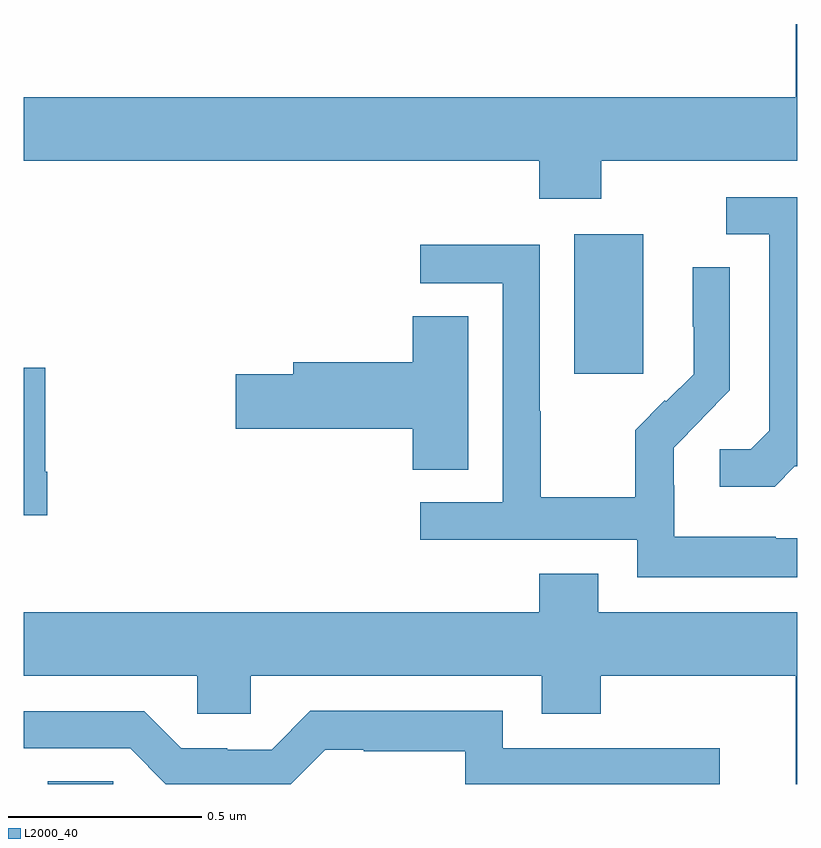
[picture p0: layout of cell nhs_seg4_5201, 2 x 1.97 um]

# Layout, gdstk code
import gdstk
lib = gdstk.Library(unit=1e-6, precision=1e-09)
def R(c, l, rs):  # rectangles x0, y0, x1, y1
    for r in rs: c.add(gdstk.rectangle(r[:2], r[2:], *l))
def P(c, l, *ps):  # polygons
    for p in ps: c.add(gdstk.Polygon(p, *l))
L2000_40 = (2000, 40)

nhs_seg4_5201 = lib.new_cell('nhs_seg4_5201')
R(nhs_seg4_5201, L2000_40, [(175.062,769.9,175.231,769.907), (176.423,770.961,176.602,771.322)])
P(nhs_seg4_5201, L2000_40, [(176.493,771.512),(177,771.512),(177,771.865),(176.996,771.865),(176.996,771.676),(175,771.676),(175,771.512),(176.333,771.512),(176.333,771.413),(176.493,771.413)],
  [(176.994,770.721),(177,770.721),(177,771.417),(176.817,771.417),(176.817,771.321),(176.927,771.321),(176.927,770.813),(176.88,770.766),(176.799,770.766),(176.799,770.669),(176.942,770.669)],
  [(177,770.535),(176.945,770.535),(176.945,770.539),(176.682,770.539),(176.682,770.673),(176.68,770.673),(176.68,770.77),(176.754,770.844),(176.753,770.845),(176.826,770.918),(176.826,771.236),(176.73,771.236),(176.73,771.082),(176.732,771.082),(176.732,770.96),(176.661,770.889),(176.658,770.892),(176.581,770.815),(176.581,770.641),(176.337,770.641),(176.337,770.864),(176.334,770.864),(176.334,771.294),(176.025,771.294),(176.025,771.195),(176.238,771.195),(176.238,770.628),(176.025,770.628),(176.025,770.532),(176.586,770.532),(176.586,770.435),(177,770.435)],
  [(176.149,771.11),(176.006,771.11),(176.006,770.99),(175.697,770.99),(175.697,770.96),(175.548,770.96),(175.548,770.818),(176.006,770.818),(176.006,770.713),(176.149,770.713)],
  [(175.061,770.707),(175.056,770.707),(175.056,770.976),(175,770.976),(175,770.595),(175.061,770.595)],
  [(177,770.344),(176.485,770.344),(176.485,770.443),(176.333,770.443),(176.333,770.344),(175,770.344),(175,770.18),(175.449,770.18),(175.449,770.082),(175.587,770.082),(175.587,770.18),(176.339,770.18),(176.339,770.081),(176.492,770.081),(176.492,770.18),(176.996,770.18),(176.996,769.9),(177,769.9)],
  [(175.779,769.989),(175.879,769.989),(175.879,769.985),(176.142,769.985),(176.142,769.9),(176.8,769.9),(176.8,769.992),(176.238,769.992),(176.238,770.089),(175.741,770.089),(175.641,769.989),(175.526,769.989),(175.526,769.992),(175.407,769.992),(175.311,770.088),(175,770.088),(175,769.992),(175.275,769.992),(175.367,769.9),(175.69,769.9)])

lib.write_gds('nhs_seg4_5201.gds')
